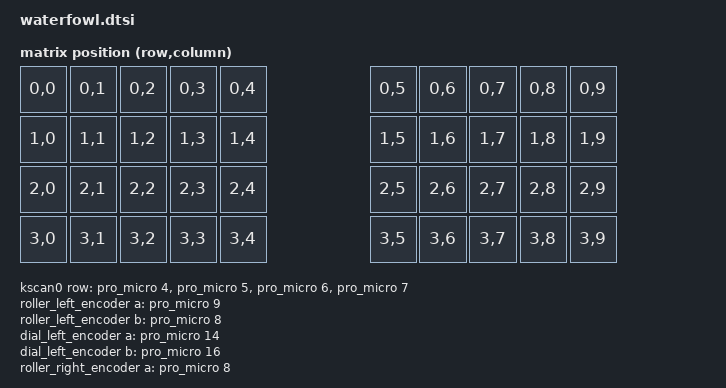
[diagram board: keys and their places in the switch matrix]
/*
 * Copyright (c) 2022 The ZMK Contributors
 *
 * SPDX-License-Identifier: MIT
 */

#include <dt-bindings/zmk/matrix_transform.h>

/ {
    chosen {
        zephyr,display = &oled;
        zmk,kscan = &kscan0;
        zmk,matrix-transform = &default_transform;
    };

    default_transform: keymap_transform_0 {
        compatible = "zmk,matrix-transform";
        columns = <16>;
        rows = <4>;
// | MX5  | MX4  | MX3  | MX2  | MX1  |                                 | MX1  | MX2  | MX3  | MX4  | MX5  |
// | MX10 | MX9  | MX8  | MX7  | MX6  |                                 | MX6  | MX7  | MX8  | MX9  | MX10 |
// | MX15 | MX14 | MX13 | MX12 | MX11 |                                 | MX11 | MX12 | MX13 | MX14 | MX15 |
// | MX20 | MX19 | MX18 | MX17 | MX16 |                                 | MX16 | MX17 | MX18 | MX19 | MX20 |
        map = <
RC(0,0) RC(0,1) RC(0,2) RC(0,3) RC(0,4)                                 RC(0,5) RC(0,6) RC(0,7) RC(0,8) RC(0,9)
RC(1,0) RC(1,1) RC(1,2) RC(1,3) RC(1,4)                                 RC(1,5) RC(1,6) RC(1,7) RC(1,8) RC(1,9)
RC(2,0) RC(2,1) RC(2,2) RC(2,3) RC(2,4)                                 RC(2,5) RC(2,6) RC(2,7) RC(2,8) RC(2,9)
RC(3,0) RC(3,1) RC(3,2) RC(3,3) RC(3,4)                                 RC(3,5) RC(3,6) RC(3,7) RC(3,8) RC(3,9)
        >;
    };

    kscan0: kscan {
        compatible = "zmk,kscan-gpio-matrix";

        diode-direction = "col2row";
        row-gpios
            = <&pro_micro 4 (GPIO_ACTIVE_HIGH | GPIO_PULL_DOWN)>
            , <&pro_micro 5 (GPIO_ACTIVE_HIGH | GPIO_PULL_DOWN)>
            , <&pro_micro 6 (GPIO_ACTIVE_HIGH | GPIO_PULL_DOWN)>
            , <&pro_micro 7 (GPIO_ACTIVE_HIGH | GPIO_PULL_DOWN)>
            ;
    };

    roller_left_encoder: encoder_left_roller {
        compatible = "alps,ec11";
        a-gpios = <&pro_micro 9 (GPIO_ACTIVE_HIGH | GPIO_PULL_UP)>;
        b-gpios = <&pro_micro 8 (GPIO_ACTIVE_HIGH | GPIO_PULL_UP)>;
        steps = <80>;
        status = "disabled";
    };

    dial_left_encoder: encoder_left_dial {
        compatible = "alps,ec11";
        a-gpios = <&pro_micro 14 (GPIO_ACTIVE_HIGH | GPIO_PULL_UP)>;
        b-gpios = <&pro_micro 16 (GPIO_ACTIVE_HIGH | GPIO_PULL_UP)>;
        steps = <80>;
        status = "disabled";
    };

    roller_right_encoder: encoder_right_roller {
        compatible = "alps,ec11";
        a-gpios = <&pro_micro 8 (GPIO_ACTIVE_HIGH | GPIO_PULL_UP)>;
        b-gpios = <&pro_micro 9 (GPIO_ACTIVE_HIGH | GPIO_PULL_UP)>;
        steps = <80>;
        status = "disabled";
    };

    dial_right_encoder: encoder_right_dial {
        compatible = "alps,ec11";
        a-gpios = <&pro_micro 16 (GPIO_ACTIVE_HIGH | GPIO_PULL_UP)>;
        b-gpios = <&pro_micro 14 (GPIO_ACTIVE_HIGH | GPIO_PULL_UP)>;
        steps = <80>;
        status = "disabled";
    };

    sensors: sensors {
        compatible = "zmk,keymap-sensors";
        triggers-per-rotation = <20>;
        sensors = <
            &roller_left_encoder
            &dial_left_encoder
            &dial_right_encoder
            &roller_right_encoder
        >;
    };

    // TODO: RGB node(s)
};

&pro_micro_i2c {
    status = "okay";

    oled: ssd1306@3c {
        compatible = "solomon,ssd1306fb";
        reg = <0x3c>;
        width = <128>;
        height = <64>;
        segment-offset = <0>;
        page-offset = <0>;
        display-offset = <0>;
        multiplex-ratio = <63>;
        prechargep = <0x22>;
        inversion-on;
    };
};
